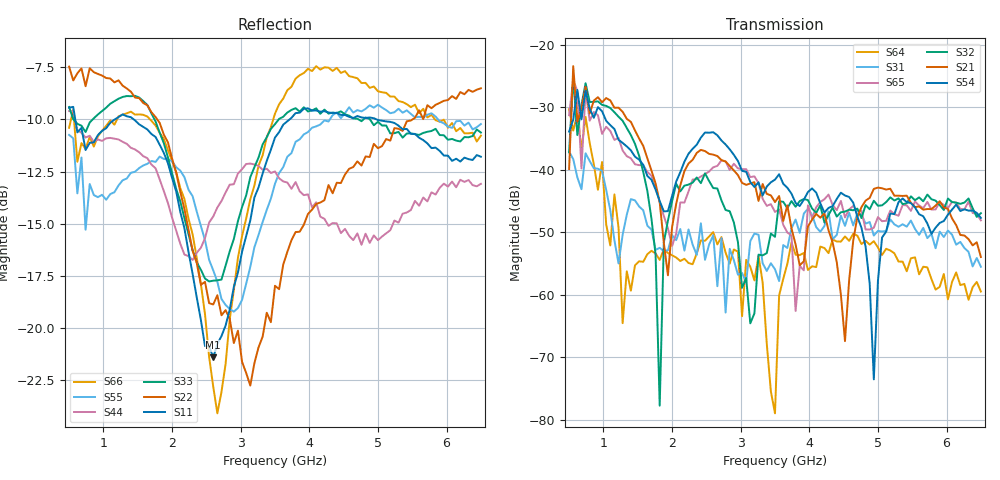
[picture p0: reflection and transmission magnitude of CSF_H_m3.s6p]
!Keysight Technologies,M9804A,MY58100912,A.14.10.03
!Date: Thursday, April 27, 2023 10:28:33
!Correction: S11(C  6-Port  )
!S12(C  6-Port  )
!S13(C  6-Port  )
!S14(C  6-Port  )
!S15(C  6-Port  )
!S16(C  6-Port  )
!S21(C  6-Port  )
!S22(C  6-Port  )
!S23(C  6-Port  )
!S24(C  6-Port  )
!S25(C  6-Port  )
!S26(C  6-Port  )
!S31(C  6-Port  )
!S32(C  6-Port  )
!S33(C  6-Port  )
!S34(C  6-Port  )
!S35(C  6-Port  )
!S36(C  6-Port  )
!S41(C  6-Port  )
!S42(C  6-Port  )
!S43(C  6-Port  )
!S44(C  6-Port  )
!S45(C  6-Port  )
!S46(C  6-Port  )
!S51(C  6-Port  )
!S52(C  6-Port  )
!S53(C  6-Port  )
!S54(C  6-Port  )
!S55(C  6-Port  )
!S56(C  6-Port  )
!S61(C  6-Port  )
!S62(C  6-Port  )
!S63(C  6-Port  )
!S64(C  6-Port  )
!S65(C  6-Port  )
!S66(C  6-Port  )
!S6P File: Measurement: :
# Hz S  RI  R 50
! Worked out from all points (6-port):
!   101 points, 500 MHz to 6.5 GHz, reference 50 ohm
!   strongest paths, dB at 500 MHz, 2 GHz, 3.5 GHz, 5 GHz, 6.5 GHz:
!     S54: -33.9, -44.2, -41.6, -57.7, -47.7
!     S21: -39.9, -49.2, -45.2, -42.8, -53.9
!     S32: -37.2, -45.0, -50.7, -45.7, -46.9
!     S65: -31.3, -52.2, -46.7, -47.6, -48.1
!     S31: -37.1, -50.5, -55.9, -49.8, -55.5
!     S64: -30.3, -53.7, -78.9, -52.4, -59.5
!   lowest |S11| = -21.4 dB at 2.6 GHz (marker M1), VSWR 1.19, Z = 42.4 + j2.17 ohm
!   |S11| at or under -10 dB: 589.2 MHz to 1.169 GHz (580.2 MHz wide, 66 % of centre); 1.44 GHz to 3.714 GHz (2.274 GHz wide, 88.3 % of centre); 4.976 GHz to end of sweep
